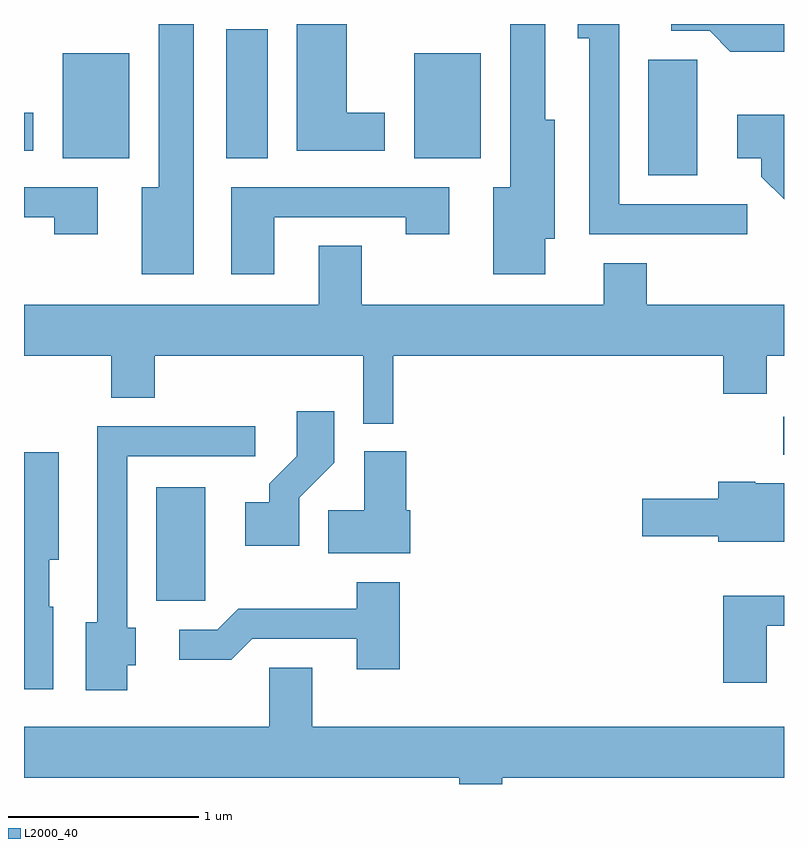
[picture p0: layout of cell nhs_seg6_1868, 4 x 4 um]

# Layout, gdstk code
import gdstk
lib = gdstk.Library(unit=1e-6, precision=1e-09)
def R(c, l, rs):  # rectangles x0, y0, x1, y1
    for r in rs: c.add(gdstk.rectangle(r[:2], r[2:], *l))
def P(c, l, *ps):  # polygons
    for p in ps: c.add(gdstk.Polygon(p, *l))
L2000_40 = (2000, 40)

nhs_seg6_1868 = lib.new_cell('nhs_seg6_1868')
R(nhs_seg6_1868, L2000_40, [(242.306,1613.126,242.564,1613.724), (245.606,1613.896,245.611,1614.094), (244.896,1615.366,245.154,1615.974), (241.816,1615.456,242.164,1616.009), (242.676,1615.456,242.894,1616.134), (243.666,1615.456,244.014,1616.009), (241.611,1615.496,241.659,1615.694)])
P(nhs_seg6_1868, L2000_40, [(245.418,1615.214),(244.744,1615.214),(244.744,1616.162),(244.526,1616.162),(244.526,1616.086),(244.586,1616.086),(244.586,1615.056),(245.418,1615.056)],
  [(242.504,1616.162),(241.673,1616.162),(241.673,1616.161),(242.321,1616.161),(242.321,1615.304),(242.231,1615.304),(242.231,1614.846),(242.504,1614.846)],
  [(243.509,1615.694),(243.309,1615.694),(243.309,1616.162),(243.046,1616.162),(243.046,1615.496),(243.509,1615.496)],
  [(244.354,1615.031),(244.404,1615.031),(244.404,1615.659),(244.354,1615.659),(244.354,1616.162),(243.523,1616.162),(243.523,1616.161),(244.171,1616.161),(244.171,1615.304),(244.081,1615.304),(244.081,1614.846),(244.354,1614.846)],
  [(245.611,1616.162),(245.018,1616.162),(245.018,1616.126),(245.219,1616.126),(245.329,1616.016),(245.611,1616.016)],
  [(245.611,1615.684),(245.366,1615.684),(245.366,1615.456),(245.491,1615.456),(245.491,1615.359),(245.611,1615.239)],
  [(242.929,1615.146),(243.621,1615.146),(243.621,1615.056),(243.849,1615.056),(243.849,1615.304),(242.701,1615.304),(242.701,1614.846),(242.929,1614.846)],
  [(241.999,1615.304),(241.611,1615.304),(241.611,1615.146),(241.771,1615.146),(241.771,1615.056),(241.999,1615.056)],
  [(243.554,1614.416),(245.291,1614.416),(245.291,1614.216),(245.519,1614.216),(245.519,1614.416),(245.611,1614.416),(245.611,1614.684),(244.889,1614.684),(244.889,1614.904),(244.661,1614.904),(244.661,1614.684),(243.389,1614.684),(243.389,1614.994),(243.161,1614.994),(243.161,1614.684),(241.611,1614.684),(241.611,1614.416),(242.071,1614.416),(242.071,1614.196),(242.299,1614.196),(242.299,1614.416),(243.396,1614.416),(243.396,1614.058),(243.554,1614.058)],
  [(243.059,1613.669),(243.244,1613.854),(243.244,1614.124),(243.046,1614.124),(243.046,1613.887),(242.901,1613.742),(242.901,1613.644),(242.776,1613.644),(242.776,1613.416),(243.059,1613.416)],
  [(242.154,1612.786),(242.199,1612.786),(242.199,1612.984),(242.154,1612.984),(242.154,1613.886),(242.828,1613.886),(242.828,1614.044),(241.996,1614.044),(241.996,1613.014),(241.936,1613.014),(241.936,1612.656),(242.154,1612.656)],
  [(243.644,1613.604),(243.624,1613.604),(243.624,1613.914),(243.401,1613.914),(243.401,1613.604),(243.211,1613.604),(243.211,1613.376),(243.644,1613.376)],
  [(241.764,1613.094),(241.744,1613.094),(241.744,1613.341),(241.794,1613.341),(241.794,1613.909),(241.611,1613.909),(241.611,1612.661),(241.764,1612.661)],
  [(245.611,1613.744),(245.46,1613.744),(245.46,1613.754),(245.266,1613.754),(245.266,1613.664),(244.866,1613.664),(244.866,1613.466),(245.266,1613.466),(245.266,1613.436),(245.611,1613.436)],
  [(243.589,1613.224),(243.361,1613.224),(243.361,1613.084),(242.739,1613.084),(242.629,1612.974),(242.428,1612.974),(242.428,1612.816),(242.702,1612.816),(242.812,1612.926),(243.361,1612.926),(243.361,1612.766),(243.589,1612.766)],
  [(245.519,1612.996),(245.611,1612.996),(245.611,1613.154),(245.291,1613.154),(245.291,1612.696),(245.519,1612.696)],
  [(244.129,1612.196),(245.611,1612.196),(245.611,1612.464),(243.129,1612.464),(243.129,1612.774),(242.901,1612.774),(242.901,1612.464),(241.611,1612.464),(241.611,1612.196),(243.901,1612.196),(243.901,1612.162),(244.129,1612.162)])

lib.write_gds('nhs_seg6_1868.gds')
